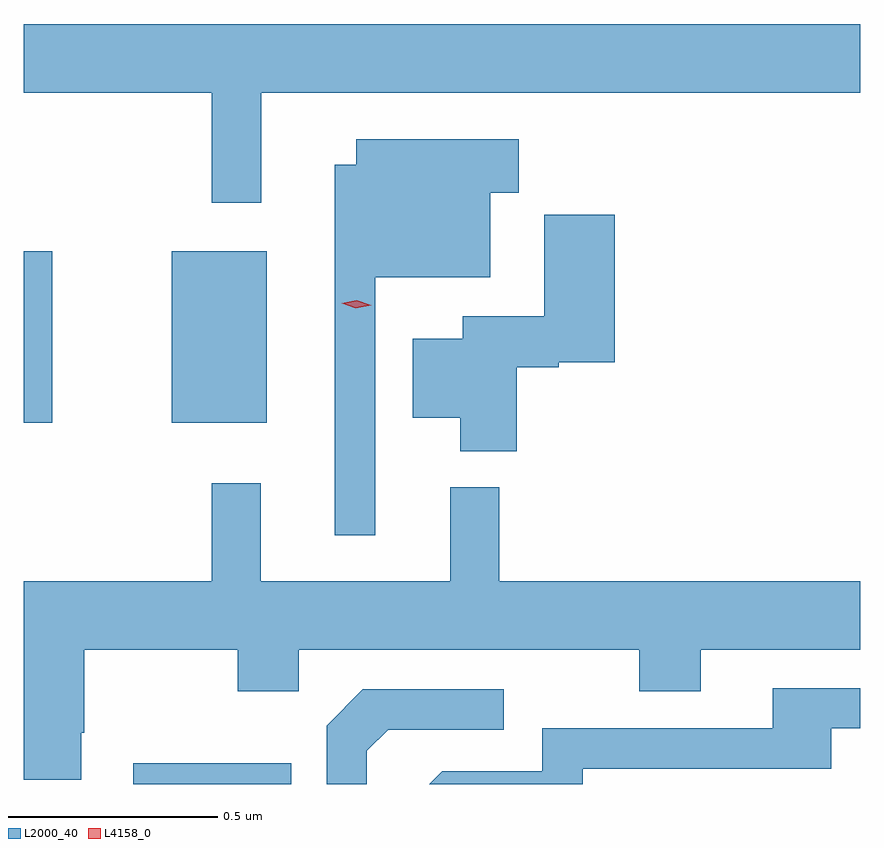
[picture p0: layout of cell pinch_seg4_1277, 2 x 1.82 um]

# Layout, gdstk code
import gdstk
lib = gdstk.Library(unit=1e-6, precision=1e-09)
def R(c, l, rs):  # rectangles x0, y0, x1, y1
    for r in rs: c.add(gdstk.rectangle(r[:2], r[2:], *l))
def P(c, l, *ps):  # polygons
    for p in ps: c.add(gdstk.Polygon(p, *l))
L2000_40 = (2000, 40)
L4158_0 = (4158, 0)

pinch_seg4_1277 = lib.new_cell('pinch_seg4_1277')
R(pinch_seg4_1277, L2000_40, [(250.278,827.135,250.655,827.185), (250.016,827.999,250.084,828.409), (250.37,827.999,250.597,828.409)])
P(pinch_seg4_1277, L2000_40, [(250.584,828.788),(252.016,828.788),(252.016,828.952),(250.016,828.952),(250.016,828.788),(250.465,828.788),(250.465,828.525),(250.584,828.525)],
  [(250.857,828.347),(251.131,828.347),(251.131,828.549),(251.2,828.549),(251.2,828.676),(250.811,828.676),(250.811,828.616),(250.76,828.616),(250.76,827.73),(250.857,827.73)],
  [(251.195,828.131),(251.295,828.131),(251.295,828.143),(251.429,828.143),(251.429,828.496),(251.26,828.496),(251.26,828.253),(251.066,828.253),(251.066,828.199),(250.946,828.199),(250.946,828.011),(251.06,828.011),(251.06,827.93),(251.195,827.93)],
  [(250.153,827.257),(250.161,827.257),(250.161,827.456),(250.528,827.456),(250.528,827.357),(250.674,827.357),(250.674,827.456),(251.488,827.456),(251.488,827.357),(251.635,827.357),(251.635,827.456),(252.016,827.456),(252.016,827.62),(251.153,827.62),(251.153,827.845),(251.036,827.845),(251.036,827.62),(250.583,827.62),(250.583,827.854),(250.465,827.854),(250.465,827.62),(250.016,827.62),(250.016,827.145),(250.153,827.145)],
  [(251.352,827.172),(251.947,827.172),(251.947,827.268),(252.016,827.268),(252.016,827.364),(251.807,827.364),(251.807,827.268),(251.256,827.268),(251.256,827.166),(251.016,827.166),(250.985,827.135),(251.352,827.135)],
  [(250.836,827.214),(250.887,827.265),(251.164,827.265),(251.164,827.361),(250.827,827.361),(250.74,827.274),(250.74,827.135),(250.836,827.135)])
P(pinch_seg4_1277, L4158_0, [(250.81,828.272),(250.776,828.284),(250.775,828.284),(250.776,828.284),(250.812,828.292),(250.847,828.28),(250.847,828.28),(250.847,828.28)])

lib.write_gds('pinch_seg4_1277.gds')
